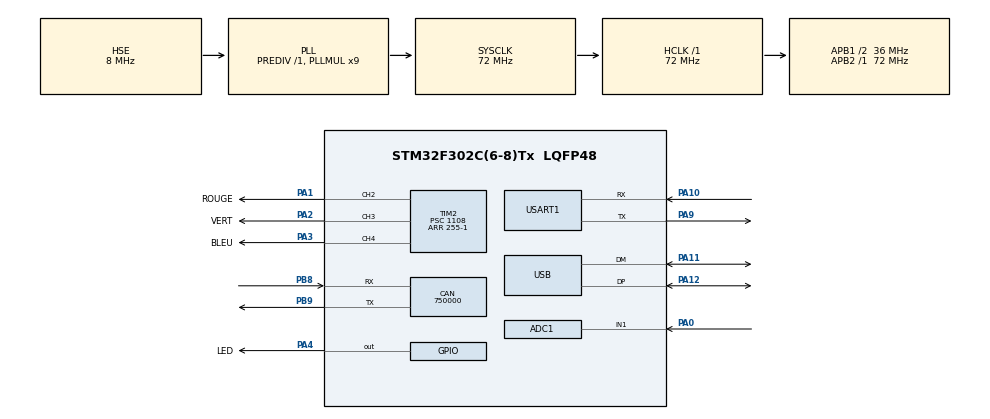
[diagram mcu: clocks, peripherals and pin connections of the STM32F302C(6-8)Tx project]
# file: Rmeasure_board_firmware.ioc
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ADC1.Channel-0\#ChannelRegularConversion=ADC_CHANNEL_1
ADC1.NbrOfConversionFlag=1
ADC1.Offset-0\#ChannelRegularConversion=0
ADC1.OffsetNumber-0\#ChannelRegularConversion=ADC_OFFSET_NONE
ADC1.Rank-0\#ChannelRegularConversion=1
ADC1.SamplingTime-0\#ChannelRegularConversion=ADC_SAMPLETIME_1CYCLE_5
ADC1.master=1
CAN.CalculateBaudRate=750000
CAN.CalculateTimeBit=1333.33
CAN.CalculateTimeQuantum=444.44444444444446
Dma.ADC1.0.Direction=DMA_PERIPH_TO_MEMORY
Dma.ADC1.0.Instance=DMA1_Channel1
Dma.ADC1.0.MemDataAlignment=DMA_MDATAALIGN_HALFWORD
Dma.ADC1.0.MemInc=DMA_MINC_ENABLE
Dma.ADC1.0.Mode=DMA_NORMAL
Dma.ADC1.0.PeriphDataAlignment=DMA_PDATAALIGN_HALFWORD
Dma.ADC1.0.PeriphInc=DMA_PINC_DISABLE
Dma.ADC1.0.Priority=DMA_PRIORITY_LOW
Dma.Request0=ADC1
Mcu.Family=STM32F3
Mcu.Name=STM32F302C(6-8)Tx
Mcu.Package=LQFP48
NVIC.DMA1_Channel1_IRQn=true\:0\:0\:false\:false\:true\:false\:true
NVIC.PriorityGroup=NVIC_PRIORITYGROUP_4
NVIC.USB_HP_CAN_TX_IRQn=true\:0\:0\:false\:false\:true\:true\:true
NVIC.USB_LP_IRQn=true\:0\:0\:false\:false\:true\:false\:true
PA0.Mode=IN1-Single-Ended
PA0.Signal=ADC1_IN1
PA1.GPIO_Label=ROUGE
PA1.Signal=S_TIM2_CH2
PA10.Mode=Asynchronous
PA10.Signal=USART1_RX
PA11.Mode=Device
PA11.Signal=USB_DM
PA12.Mode=Device
PA12.Signal=USB_DP
PA13.Mode=Trace_Asynchronous_SW
PA13.Signal=SYS_JTMS-SWDIO
PA14.Mode=Trace_Asynchronous_SW
PA14.Signal=SYS_JTCK-SWCLK
PA2.GPIO_Label=VERT
PA2.Signal=S_TIM2_CH3
PA3.GPIO_Label=BLEU
PA3.Signal=S_TIM2_CH4
PA4.GPIO_Label=LED
PA4.Signal=GPIO_Output
PA9.Mode=Asynchronous
PA9.Signal=USART1_TX
PB3.Mode=Trace_Asynchronous_SW
PB3.Signal=SYS_JTDO-TRACESWO
PB8.Mode=CAN_Activate
PB8.Signal=CAN_RX
PB9.Mode=CAN_Activate
PB9.Signal=CAN_TX
PF0-OSC_IN.Mode=HSE-External-Oscillator
PF0-OSC_IN.Signal=RCC_OSC_IN
PF1-OSC_OUT.Mode=HSE-External-Oscillator
PF1-OSC_OUT.Signal=RCC_OSC_OUT
ProjectManager.HeapSize=0x200
ProjectManager.StackSize=0x400
ProjectManager.TargetToolchain=Makefile
RCC.AHBFreq_Value=72000000
RCC.APB1CLKDivider=RCC_HCLK_DIV2
RCC.APB1Freq_Value=36000000
RCC.APB1TimFreq_Value=72000000
RCC.APB2Freq_Value=72000000
RCC.APB2TimFreq_Value=72000000
RCC.CortexFreq_Value=72000000
RCC.HCLKFreq_Value=72000000
RCC.HSE_VALUE=8000000
RCC.HSI_VALUE=8000000
RCC.LSE_VALUE=32768
RCC.PLLMUL=RCC_PLL_MUL9
RCC.PRESCALERUSB=RCC_USBCLKSOURCE_PLL_DIV1_5
RCC.SYSCLKFreq_VALUE=72000000
RCC.SYSCLKSourceVirtual=RCC_SYSCLKSOURCE_PLLCLK
RCC.USBFreq_Value=48000000
SH.S_TIM2_CH2.0=TIM2_CH2,PWM Generation2 CH2
SH.S_TIM2_CH3.0=TIM2_CH3,PWM Generation3 CH3
SH.S_TIM2_CH4.0=TIM2_CH4,PWM Generation4 CH4
TIM2.Channel-PWM\ Generation2\ CH2=TIM_CHANNEL_2
TIM2.Channel-PWM\ Generation3\ CH3=TIM_CHANNEL_3
TIM2.Channel-PWM\ Generation4\ CH4=TIM_CHANNEL_4
TIM2.Period=255-1
TIM2.Prescaler=1108
USART1.VirtualMode-Asynchronous=VM_ASYNC
USB_DEVICE.CLASS_NAME_FS=CDC
USB_DEVICE.VirtualMode=Cdc
USB_DEVICE.VirtualModeFS=Cdc_FS
VP_USB_DEVICE_VS_USB_DEVICE_CDC_FS.Mode=CDC_FS
board=custom

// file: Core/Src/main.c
/* USER CODE BEGIN Header */
/**
  ******************************************************************************
  * @file           : main.c
  * @brief          : Main program body
  ******************************************************************************
  * @attention
  *
  * <h2><center>&copy; Copyright (c) 2021 STMicroelectronics.
  * All rights reserved.</center></h2>
  *
  * This software component is licensed by ST under Ultimate Liberty license
  * SLA0044, the "License"; You may not use this file except in compliance with
  * the License. You may obtain a copy of the License at:
  *                             www.st.com/SLA0044
  *
  ******************************************************************************
  */
/* USER CODE END Header */
#include "main.h"
#include "adc.h"
#include "can.h"
#include "dma.h"
#include "tim.h"
#include "usart.h"
#include "usb_device.h"
#include "gpio.h"

/* USER CODE BEGIN PTD */
CAN_TxHeaderTypeDef txhead;
uint32_t Txmailbox;
/* USER CODE END PTD */

void SystemClock_Config(void);
/* USER CODE BEGIN PFP */
void set_rgb(u_int8_t rouge,u_int8_t vert,u_int8_t bleu);

int _write(int fd, unsigned char *ptr, int len)
{
	if (CDC_Transmit_FS(ptr,len) != HAL_OK)
		return 0;

	return len;
}
/* USER CODE END PFP */

int main(void)
{

  /* MCU Configuration--------------------------------------------------------*/

  /* Reset of all peripherals, Initializes the Flash interface and the Systick. */
  HAL_Init();

  /* Configure the system clock */
  SystemClock_Config();

  /* Initialize all configured peripherals */
  MX_GPIO_Init();
  MX_DMA_Init();
  MX_ADC1_Init();
  MX_CAN_Init();
  MX_TIM2_Init();
  MX_USART1_UART_Init();
  MX_USB_DEVICE_Init();
  /* USER CODE BEGIN 2 */
  HAL_TIM_PWM_Start (&htim2, TIM_CHANNEL_2);
  HAL_TIM_PWM_Start (&htim2, TIM_CHANNEL_3);
  HAL_TIM_PWM_Start (&htim2, TIM_CHANNEL_4);

  /* USER CODE END 2 */

  /* Infinite loop */
  /* USER CODE BEGIN WHILE */
  while (1)
  {
    set_rgb(125,255,0);
    //HAL_GPIO_TogglePin(LED_GPIO_Port,LED_Pin);
    HAL_Delay(500);
    set_rgb(0,0,255);
    HAL_Delay(500);
    printf("bjr\n\r");
    HAL_CAN_AddTxMessage(&hcan,&txhead,0x8,&Txmailbox);
    /* USER CODE END WHILE */

  }
}

void SystemClock_Config(void)
{
  RCC_OscInitTypeDef RCC_OscInitStruct = {0};
  RCC_ClkInitTypeDef RCC_ClkInitStruct = {0};
  RCC_PeriphCLKInitTypeDef PeriphClkInit = {0};

  /** Initializes the RCC Oscillators according to the specified parameters
  * in the RCC_OscInitTypeDef structure.
  */
  RCC_OscInitStruct.OscillatorType = RCC_OSCILLATORTYPE_HSE;
  RCC_OscInitStruct.HSEState = RCC_HSE_ON;
  RCC_OscInitStruct.HSEPredivValue = RCC_HSE_PREDIV_DIV1;
  RCC_OscInitStruct.HSIState = RCC_HSI_ON;
  RCC_OscInitStruct.PLL.PLLState = RCC_PLL_ON;
  RCC_OscInitStruct.PLL.PLLSource = RCC_PLLSOURCE_HSE;
  RCC_OscInitStruct.PLL.PLLMUL = RCC_PLL_MUL9;
  if (HAL_RCC_OscConfig(&RCC_OscInitStruct) != HAL_OK)
  {
    Error_Handler();
  }
  /** Initializes the CPU, AHB and APB buses clocks
  */
  RCC_ClkInitStruct.ClockType = RCC_CLOCKTYPE_HCLK|RCC_CLOCKTYPE_SYSCLK
                              |RCC_CLOCKTYPE_PCLK1|RCC_CLOCKTYPE_PCLK2;
  RCC_ClkInitStruct.SYSCLKSource = RCC_SYSCLKSOURCE_PLLCLK;
  RCC_ClkInitStruct.AHBCLKDivider = RCC_SYSCLK_DIV1;
  RCC_ClkInitStruct.APB1CLKDivider = RCC_HCLK_DIV2;
  RCC_ClkInitStruct.APB2CLKDivider = RCC_HCLK_DIV1;

  if (HAL_RCC_ClockConfig(&RCC_ClkInitStruct, FLASH_LATENCY_2) != HAL_OK)
  {
    Error_Handler();
  }
  PeriphClkInit.PeriphClockSelection = RCC_PERIPHCLK_USB|RCC_PERIPHCLK_USART1
                              |RCC_PERIPHCLK_ADC1;
  PeriphClkInit.Usart1ClockSelection = RCC_USART1CLKSOURCE_PCLK1;
  PeriphClkInit.USBClockSelection = RCC_USBCLKSOURCE_PLL_DIV1_5;
  PeriphClkInit.Adc1ClockSelection = RCC_ADC1PLLCLK_DIV1;

  if (HAL_RCCEx_PeriphCLKConfig(&PeriphClkInit) != HAL_OK)
  {
    Error_Handler();
  }
}

/* USER CODE BEGIN 4 */
void set_rgb(u_int8_t rouge,u_int8_t vert,u_int8_t bleu)
{
  htim2.Instance->CCR2 = rouge;
  htim2.Instance->CCR3 = vert;
  htim2.Instance->CCR4 = bleu;
}
/* USER CODE END 4 */

void Error_Handler(void)
{
  __disable_irq();
  while (1)
  {
  }
}

/************************ (C) COPYRIGHT STMicroelectronics *****END OF FILE****/
